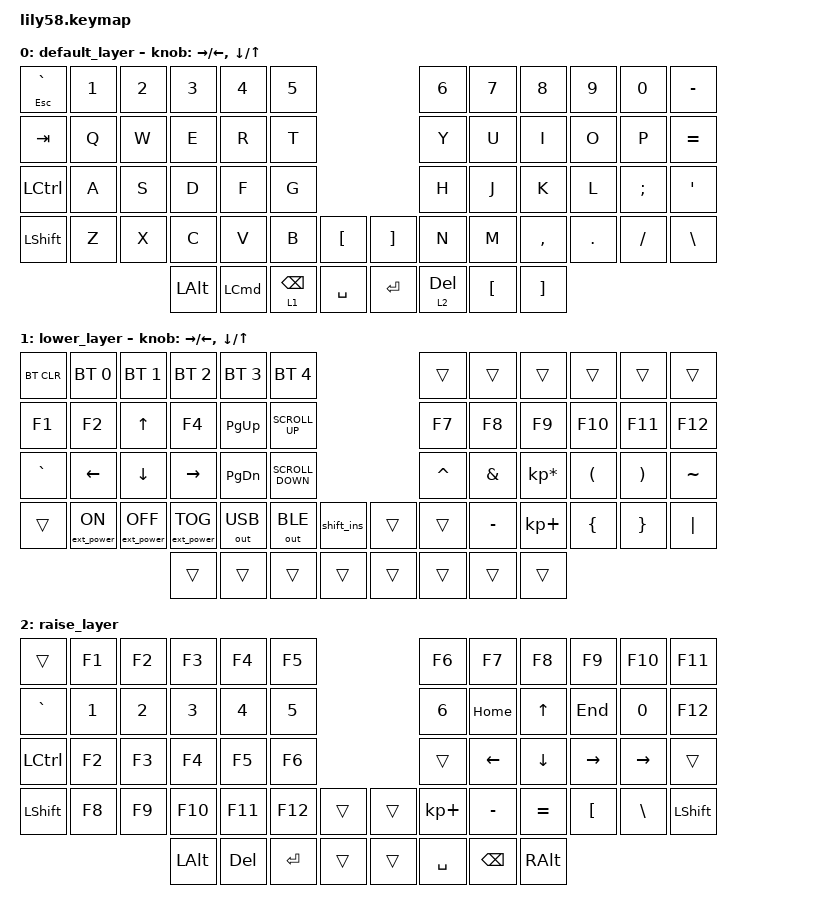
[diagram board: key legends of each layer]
/*
 * Copyright (c) 2020 The ZMK Contributors
 *
 * SPDX-License-Identifier: MIT
 */

#include <behaviors.dtsi>
#include <dt-bindings/zmk/bt.h>
#include <dt-bindings/zmk/ext_power.h>
#include <dt-bindings/zmk/keys.h>
#include <dt-bindings/zmk/outputs.h>

/*
/ {
	combos {
        compatible = "zmk,combos";
        combo_LPAR {
            timeout-ms = <10>;
            key-positions = <19 20>;
            bindings = <&kp LPAR>;
        };
		combo_RPAR {
            timeout-ms = <10>;
            key-positions = <20 21>;
            bindings = <&kp RPAR>;
        };
		combo_LBKT {
            timeout-ms = <10>;
            key-positions = <31 32>;
            bindings = <&kp LBKT>;
        };
		combo_RBKT {
            timeout-ms = <10>;
            key-positions = <32 33>;
            bindings = <&kp RBKT>;
        };
		combo_LBRC {
            timeout-ms = <10>;
            key-positions = <45 46>;
            bindings = <&kp LBRC>;
        };
		combo_RBRC {
            timeout-ms = <10>;
            key-positions = <46 47>;
            bindings = <&kp RBRC>;
        };
		
	};
};
*/

/ {
    behaviors {
        hm: homerow_mods {
            compatible = "zmk,behavior-hold-tap";
            label = "HOMEROW_MODS";
            #binding-cells = <2>;
            tapping-term-ms = <200>;
            quick-tap-ms = <0>;
            flavor = "tap-preferred";
            bindings = <&kp>, <&kp>;
        };

        se: shift_enter {
            compatible = "zmk,behavior-hold-tap";
            label = "SHIFT_ENTER";
            #binding-cells = <2>;
            tapping-term-ms = <120>;
            quick-tap-ms = <0>;
            flavor = "tap-preferred";
            bindings = <&kp>, <&kp>;
        };

        al: alt_layer {
            compatible = "zmk,behavior-hold-tap";
            label = "ALT_LAYER";
            #binding-cells = <2>;
            tapping-term-ms = <200>;
            quick-tap-ms = <0>;
            flavor = "tap-preferred";
            bindings = <&mo>, <&kp>;
        };
    };
};

/ {
    macros {
        shift_ins: shift_ins {
            label = "ZM_shift_ins";
            compatible = "zmk,behavior-macro";
            #binding-cells = <0>;
            bindings =
                <&macro_press>,
                <&kp LSHFT>,
                <&macro_tap>,
                <&kp INS>,
                <&macro_release>,
                <&kp LSHFT>;
        };
    };
};

/ {
    keymap {
        compatible = "zmk,keymap";

        default_layer {
            // ------------------------------------------------------------------------------------------------------------
            // |  ESC  |  1  |  2  |  3   |  4   |  5   |                   |  6   |  7    |  8    |  9   |   0   |   -   |
            // |  TAB  |  Q  |  W  |  E   |  R   |  T   |                   |  Y   |  U    |  I    |  O   |   P   |   =   |
            // |  CTRL |  A  |  S  |  D   |  F   |  G   |                   |  H   |  J    |  K    |  L   |   ;   |   '   |
            // | SHIFT |  Z  |  X  |  C   |  V   |  B   |   "["  |  |  "]"  |  N   |  M    |  ,    |  .   |   /   | SHIFT |
            //                     | ALT  | LOWER| DEL  |  ENTER |  | SPACE | BSPC | UPPER | ALT   |

            bindings = <
&hm ESC GRAVE  &kp N1  &kp N2  &kp N3    &kp N4            &kp N5                                  &kp N6        &kp N7            &kp N8             &kp N9   &kp N0    &kp MINUS
&kp TAB        &kp Q   &kp W   &kp E     &kp R             &kp T                                   &kp Y         &kp U             &kp I              &kp O    &kp P     &kp EQUAL
&kp LCTRL      &kp A   &kp S   &kp D     &kp F             &kp G                                   &kp H         &kp J             &kp K              &kp L    &kp SEMI  &kp SQT
&kp LSHFT      &kp Z   &kp X   &kp C     &kp V             &kp B            &kp LBKT     &kp RBKT  &kp N         &kp M             &kp COMMA          &kp DOT  &kp FSLH  &kp BACKSLASH
                               &kp LALT  &kp LEFT_COMMAND  &al 1 BACKSPACE  &kp SPACE    &kp RET   &al 2 DELETE  &kp LEFT_BRACKET  &kp RIGHT_BRACKET
            >;

            sensor-bindings =
                <&inc_dec_kp RIGHT LEFT>,
                <&inc_dec_kp DOWN UP_ARROW>;
        };

        lower_layer {
            // ------------------------------------------------------------------------------------------------------------
            // | BTCLR | BT1 | BT2 |  BT3 |  BT4 |  BT5 |                   |      |       |       |      |       |       |
            // |  F1   |  F2 |  F3 |  F4  |  F5  |  F6  |                   |  F7  |  F8   |  F9   |  F10 |  F11  |  F12  |
            // |   `   |  !  |  @  |  #   |  $   |  %   |                   |  ^   |  &    |  *    |  (   |   )   |   ~   |
            // |       |     |     |      |      |      | SH+INS |  |       |      |  _    |  +    |  {   |   }   |  "|"  |
            //                     |      |      |      |        |  |       |      |       |       |

            bindings = <
&bt BT_CLR  &bt BT_SEL 0      &bt BT_SEL 1       &bt BT_SEL 2       &bt BT_SEL 3   &bt BT_SEL 4                             &trans     &trans     &trans           &trans    &trans    &trans
&kp F1      &kp F2            &kp UP_ARROW       &kp F4             &kp PAGE_UP    &kp K_SCROLL_UP                          &kp F7     &kp F8     &kp F9           &kp F10   &kp F11   &kp F12
&kp GRAVE   &kp LEFT          &kp DOWN           &kp RIGHT          &kp PAGE_DOWN  &kp K_SCROLL_DOWN                        &kp CARET  &kp AMPS   &kp KP_MULTIPLY  &kp LPAR  &kp RPAR  &kp TILDE
&trans      &ext_power EP_ON  &ext_power EP_OFF  &ext_power EP_TOG  &out OUT_USB   &out OUT_BLE       &shift_ins    &trans  &trans     &kp MINUS  &kp KP_PLUS      &kp LBRC  &kp RBRC  &kp PIPE
                                                 &trans             &trans         &trans             &trans        &trans  &trans     &trans     &trans
            >;

            sensor-bindings =
                <&inc_dec_kp RIGHT LEFT>,
                <&inc_dec_kp DOWN UP_ARROW>;
        };

        raise_layer {
            // ------------------------------------------------------------------------------------------------------------
            // |       |  F1 | F2  |  F3  |  F4  |  F5  |                   |  F6  |   F7  |   F8  |  F9  |   F10 |   F11 |
            // |   `   |  1  |  2  |  3   |  4   |  5   |                   |  6   |  Home |   ^   |  End |   0   |   F12 |
            // |  CTRL |  F2 |  F3 |  F4  |  F5  |  F6  |                   |      |   <-  |   v   |  ->  |  ->   |       |
            // | SHIFT |  F8 |  F9 |  F10 |  F11 |  F12 |        |  |       |  +   |   -   |   =   |  [   |   \   | SHIFT |
            //                     | ALT  | DEL  | ENTER| 		 |  | 		| SPACE| BSPC  | ALT   |

            bindings = <
&trans     &kp F1  &kp F2  &kp F3    &kp F4   &kp F5                     &kp F6       &kp F7     &kp F8     &kp F9     &kp F10    &kp F11
&kp GRAVE  &kp N1  &kp N2  &kp N3    &kp N4   &kp N5                     &kp N6       &kp HOME   &kp UP     &kp END    &kp N0     &kp F12
&kp LCTRL  &kp F2  &kp F3  &kp F4    &kp F5   &kp F6                     &trans       &kp LEFT   &kp DOWN   &kp RIGHT  &kp RIGHT  &trans
&kp LSHFT  &kp F8  &kp F9  &kp F10   &kp F11  &kp F12  &trans    &trans  &kp KP_PLUS  &kp MINUS  &kp EQUAL  &kp LBKT   &kp BSLH   &kp LSHFT
                           &kp LALT  &kp DEL  &kp RET  &trans    &trans  &kp SPACE    &kp BSPC   &kp RALT
            >;
        };
    };
};
